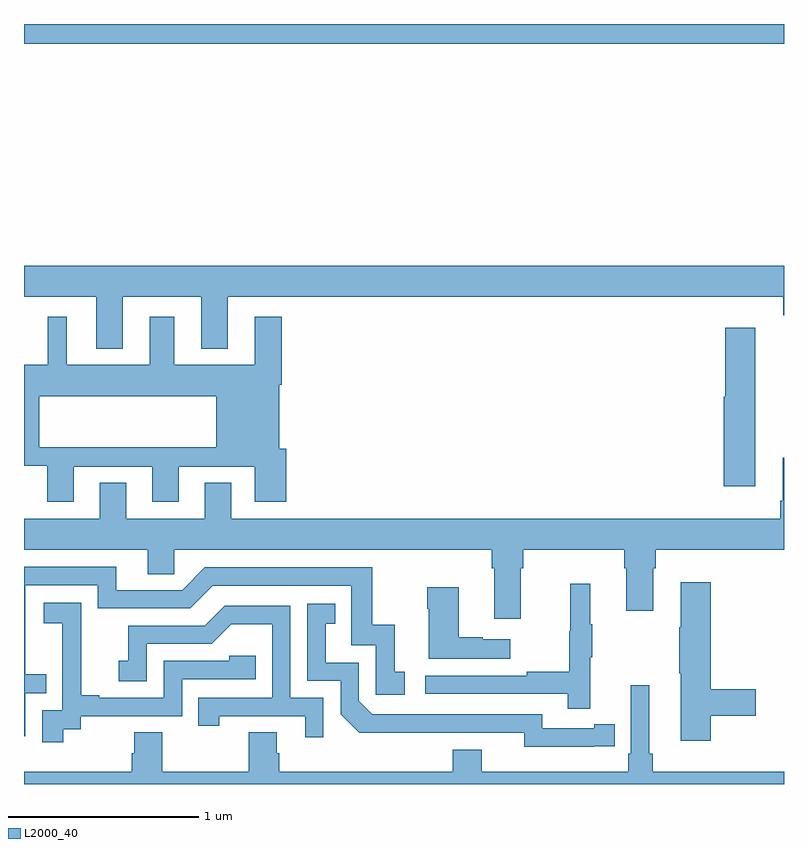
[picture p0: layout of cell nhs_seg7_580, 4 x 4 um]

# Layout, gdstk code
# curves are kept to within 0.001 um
import gdstk
lib = gdstk.Library(unit=1e-6, precision=1e-09)
def R(c, l, rs):  # rectangles x0, y0, x1, y1
    for r in rs: c.add(gdstk.rectangle(r[:2], r[2:], *l))
def P(c, l, *ps):  # polygons
    for p in ps: c.add(gdstk.Polygon(p, *l))
L2000_40 = (2000, 40)

nhs_seg7_580 = lib.new_cell('nhs_seg7_580')
R(nhs_seg7_580, L2000_40, [(155,1053.896,159,1054)])
P(nhs_seg7_580, L2000_40, [(155.521,1052.564),(155.933,1052.564),(155.933,1052.291),(156.073,1052.291),(156.073,1052.564),(158.995,1052.564),(158.995,1052.468),(159,1052.468),(159,1052.728),(155,1052.728),(155,1052.564),(155.381,1052.564),(155.381,1052.291),(155.521,1052.291)],
  [(155.123,1051.674),(155.123,1051.485),(155.263,1051.485),(155.263,1051.671),(155.675,1051.671),(155.675,1051.485),(155.815,1051.485),(155.815,1051.671),(156.215,1051.671),(156.215,1051.485),(156.38,1051.485),(156.38,1051.764),(156.343,1051.764),(156.343,1052.102),(156.356,1052.102),(156.356,1052.458),(156.215,1052.458),(156.215,1052.206),(155.791,1052.206),(155.791,1052.458),(155.663,1052.458),(155.663,1052.206),(155.224,1052.206),(155.224,1052.458),(155.126,1052.458),(155.126,1052.206),(155,1052.206),(155,1051.772),(155.081,1051.772),(155.081,1052.042),(156.011,1052.042),(156.011,1051.772),(155.081,1051.772),(155,1051.772),(155,1051.674)],
  [(158.848,1052.401),(158.69,1052.401),(158.69,1052.037),(158.684,1052.037),(158.684,1051.566),(158.848,1051.566)],
  [(157.615,1051.136),(157.628,1051.136),(157.628,1051.232),(158.159,1051.232),(158.159,1051.136),(158.171,1051.136),(158.171,1050.912),(158.311,1050.912),(158.311,1051.136),(158.324,1051.136),(158.324,1051.232),(159,1051.232),(159,1051.717),(158.993,1051.717),(158.993,1051.492),(158.981,1051.492),(158.981,1051.396),(156.091,1051.396),(156.091,1051.586),(155.951,1051.586),(155.951,1051.396),(155.539,1051.396),(155.539,1051.586),(155.399,1051.586),(155.399,1051.396),(155,1051.396),(155,1051.232),(155.651,1051.232),(155.651,1051.105),(155.79,1051.105),(155.79,1051.232),(157.463,1051.232),(157.463,1051.136),(157.475,1051.136),(157.475,1050.87),(157.615,1050.87)],
  [(155.007,1050.477),(155.117,1050.477),(155.117,1050.578),(155.007,1050.578),(155.007,1051.047),(155.388,1051.047),(155.388,1050.924),(155.874,1050.924),(155.994,1051.044),(156.723,1051.044),(156.723,1050.729),(156.852,1050.729),(156.852,1050.471),(157.003,1050.471),(157.003,1050.591),(156.95,1050.591),(156.95,1050.838),(156.832,1050.838),(156.832,1051.14),(155.952,1051.14),(155.832,1051.02),(155.485,1051.02),(155.485,1051.143),(155,1051.143),(155,1050.252),(155.007,1050.252)],
  [(158.615,1050.358),(158.851,1050.358),(158.851,1050.5),(158.615,1050.5),(158.615,1051.063),(158.456,1051.063),(158.456,1050.824),(158.449,1050.824),(158.449,1050.583),(158.456,1050.583),(158.456,1050.228),(158.615,1050.228)],
  [(157.979,1050.667),(157.99,1050.667),(157.99,1050.841),(157.979,1050.841),(157.979,1051.054),(157.876,1051.054),(157.876,1050.804),(157.869,1050.804),(157.869,1050.59),(157.645,1050.59),(157.645,1050.57),(157.113,1050.57),(157.113,1050.474),(157.861,1050.474),(157.861,1050.396),(157.979,1050.396)],
  [(157.558,1050.763),(157.415,1050.763),(157.415,1050.773),(157.288,1050.773),(157.288,1051.036),(157.123,1051.036),(157.123,1050.923),(157.13,1050.923),(157.13,1050.659),(157.558,1050.659)],
  [(155.206,1050.289),(155.298,1050.289),(155.298,1050.357),(155.832,1050.357),(155.832,1050.552),(156.221,1050.552),(156.221,1050.675),(156.081,1050.675),(156.081,1050.648),(155.736,1050.648),(155.736,1050.453),(155.395,1050.453),(155.395,1050.466),(155.3,1050.466),(155.3,1050.749),(155.301,1050.749),(155.301,1050.955),(155.103,1050.955),(155.103,1050.845),(155.201,1050.845),(155.201,1050.617),(155.202,1050.617),(155.202,1050.387),(155.097,1050.387),(155.097,1050.219),(155.206,1050.219)],
  [(158,1050.198),(158.108,1050.198),(158.108,1050.314),(158,1050.314),(158,1050.294),(157.728,1050.294),(157.728,1050.366),(156.834,1050.366),(156.762,1050.438),(156.762,1050.639),(156.589,1050.639),(156.589,1050.843),(156.638,1050.843),(156.638,1050.949),(156.492,1050.949),(156.492,1050.543),(156.666,1050.543),(156.666,1050.366),(156.764,1050.269),(157.632,1050.27),(157.632,1050.197)],
  [(156.576,1050.453),(156.402,1050.453),(156.402,1050.939),(156.056,1050.939),(155.951,1050.834),(155.548,1050.834),(155.548,1050.649),(155.499,1050.649),(155.499,1050.54),(155.646,1050.54),(155.646,1050.738),(155.988,1050.738),(156.092,1050.842),(156.306,1050.842),(156.306,1050.453),(155.917,1050.453),(155.917,1050.306),(156.028,1050.306),(156.028,1050.357),(156.479,1050.357),(156.479,1050.246),(156.576,1050.246)],
  [(159,1050.064),(158.309,1050.064),(158.309,1050.16),(158.29,1050.16),(158.29,1050.52),(158.193,1050.52),(158.193,1050.16),(158.18,1050.16),(158.18,1050.064),(157.408,1050.064),(157.408,1050.181),(157.256,1050.181),(157.256,1050.064),(156.344,1050.064),(156.344,1050.162),(156.331,1050.162),(156.331,1050.272),(156.184,1050.272),(156.184,1050.064),(155.727,1050.064),(155.727,1050.272),(155.579,1050.272),(155.579,1050.162),(155.567,1050.162),(155.567,1050.064),(155,1050.064),(155,1050),(159,1050)])

lib.write_gds('nhs_seg7_580.gds')
